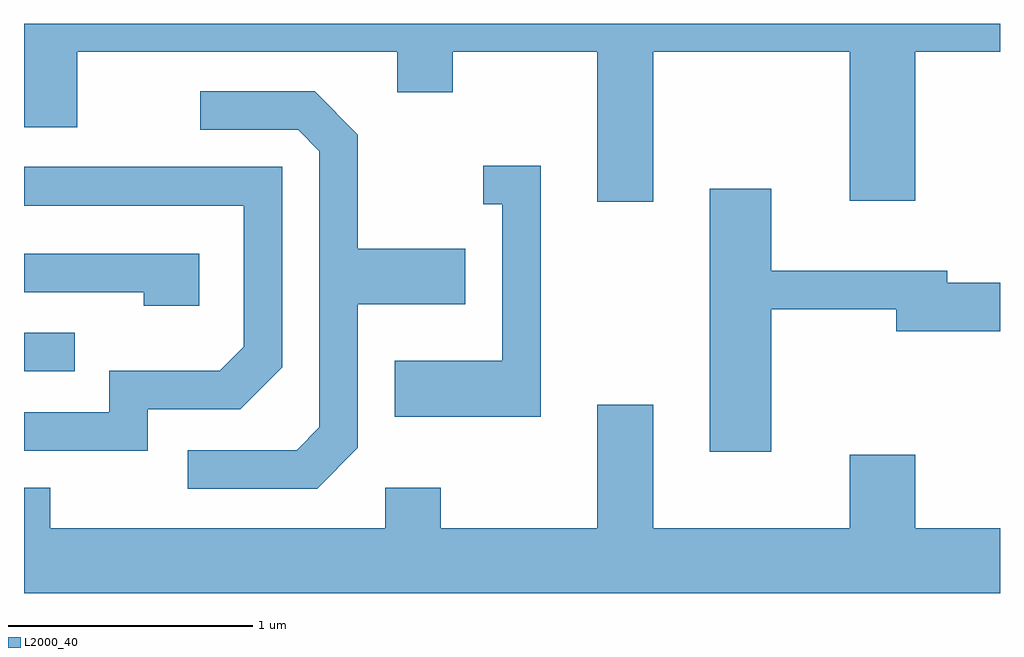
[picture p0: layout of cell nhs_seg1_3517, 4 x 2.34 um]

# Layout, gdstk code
import gdstk
lib = gdstk.Library(unit=1e-6, precision=1e-09)
def R(c, l, rs):  # rectangles x0, y0, x1, y1
    for r in rs: c.add(gdstk.rectangle(r[:2], r[2:], *l))
def P(c, l, *ps):  # polygons
    for p in ps: c.add(gdstk.Polygon(p, *l))
L2000_40 = (2000, 40)

nhs_seg1_3517 = lib.new_cell('nhs_seg1_3517')
R(nhs_seg1_3517, L2000_40, [(291.611,878.286,291.818,878.444)])
P(nhs_seg1_3517, L2000_40, [(294.189,879.596),(294.996,879.596),(294.996,878.986),(295.264,878.986),(295.264,879.596),(295.611,879.596),(295.611,879.712),(291.611,879.712),(291.611,879.286),(291.829,879.286),(291.829,879.596),(293.141,879.596),(293.141,879.431),(293.369,879.431),(293.369,879.596),(293.961,879.596),(293.961,878.981),(294.189,878.981)],
  [(292.979,877.974),(292.979,878.561),(293.419,878.561),(293.419,878.789),(292.979,878.789),(292.979,879.257),(292.802,879.434),(292.333,879.434),(292.333,879.276),(292.734,879.276),(292.821,879.189),(292.821,878.057),(292.729,877.964),(292.283,877.964),(292.283,877.806),(292.812,877.806)],
  [(293.729,879.129),(293.493,879.129),(293.493,878.971),(293.571,878.971),(293.571,878.329),(293.131,878.329),(293.131,878.101),(293.729,878.101)],
  [(292.119,878.131),(292.497,878.131),(292.669,878.304),(292.669,879.124),(291.611,879.124),(291.611,878.966),(292.511,878.966),(292.511,878.387),(292.414,878.289),(291.961,878.289),(291.961,878.119),(291.611,878.119),(291.611,877.961),(292.119,877.961)],
  [(294.674,878.541),(295.186,878.541),(295.186,878.451),(295.611,878.451),(295.611,878.649),(295.394,878.649),(295.394,878.699),(294.674,878.699),(294.674,879.034),(294.421,879.034),(294.421,877.956),(294.674,877.956)],
  [(292.329,878.769),(291.611,878.769),(291.611,878.611),(292.101,878.611),(292.101,878.556),(292.329,878.556)],
  [(295.611,877.644),(295.264,877.644),(295.264,877.944),(294.996,877.944),(294.996,877.644),(294.189,877.644),(294.189,878.149),(293.961,878.149),(293.961,877.644),(293.319,877.644),(293.319,877.809),(293.091,877.809),(293.091,877.644),(291.719,877.644),(291.719,877.809),(291.611,877.809),(291.611,877.376),(295.611,877.376)])

lib.write_gds('nhs_seg1_3517.gds')
